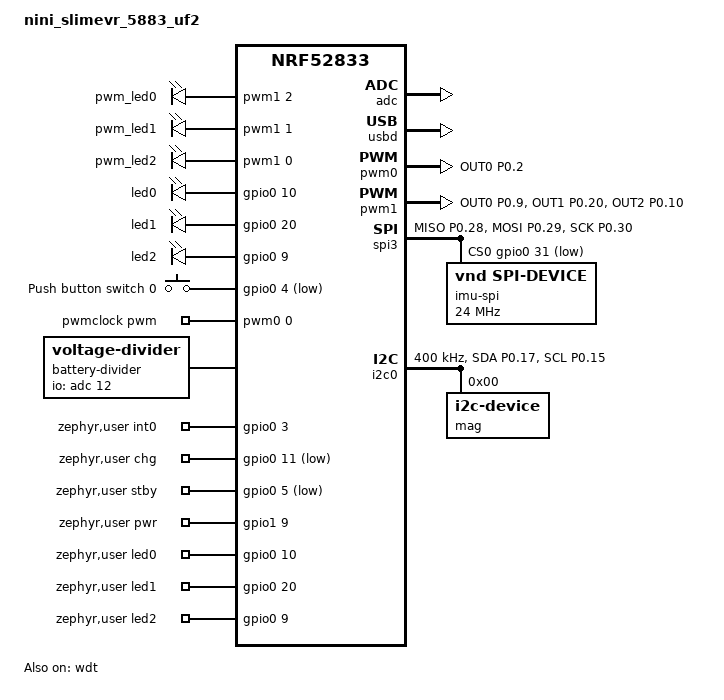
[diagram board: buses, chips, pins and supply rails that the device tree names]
// Copyright (c) 2024 Nordic Semiconductor ASA
// SPDX-License-Identifier: Apache-2.0

// 板级设备树：nini_slimevr_5883_uf2 ——【追踪器 tracker】（nRF52833 QDAA）
// 由我们注入的 nini 板级文件（上游 jitingcn 仓不含）。
// 与旧板 nini_slimevr_mag_uf2 的硬件差异：
//   ① 三颗 LED 改为【共阴】接法（高电平点亮），新增红灯：
//      红 P0.10 / 绿 P0.20 / 蓝 P0.09，全部 GPIO_ACTIVE_HIGH、PWM_POLARITY_NORMAL，
//      不再用 GPIO_OPEN_DRAIN 与 nordic,invert；
//   ② P0.18 接 nRF 的 nRESET（UICR gpio-as-nreset），不再是普通 GPIO/按键；
//   ③ 板载 32.768kHz 晶振（LFXO 走应用 Kconfig CLOCK_USE_LFXO，默认开，无需 dts 配置）；
//   ④ 磁力计为 QMC5883P（I2C 0x2C，驱动另行注入），dts 侧仍为通用 i2c-device 占位。
// 其余引脚（SW0/INT/CHG/STDBY/PWR/SPI3/I2C0/IMUCLK）与旧板一致。

/dts-v1/;
#include <nordic/nrf52833_qdaa.dtsi>
#include <zephyr/dt-bindings/gpio/gpio.h>
#include <zephyr/dt-bindings/gpio/nordic-nrf-gpio.h>
#include <zephyr/dt-bindings/pinctrl/nrf-pinctrl.h>


&pinctrl {
	spi3_default: spi3_default {
		group1 {
			psels = <NRF_PSEL(SPIM_MISO, 0, 28)>,
					<NRF_PSEL(SPIM_MOSI, 0, 29)>,
					<NRF_PSEL(SPIM_SCK, 0, 30)>;
		};
	};

	spi3_sleep: spi3_sleep {
		group1 {
			psels = <NRF_PSEL(SPIM_MISO, 0, 28)>,
					<NRF_PSEL(SPIM_MOSI, 0, 29)>,
					<NRF_PSEL(SPIM_SCK, 0, 30)>;
			low-power-enable;
		};
	};

	i2c0_default: i2c0_default {
		group1 {
			psels = <NRF_PSEL(TWIM_SDA, 0, 17)>,
					<NRF_PSEL(TWIM_SCL, 0, 15)>;
			bias-disable;
		};
	};

	i2c0_sleep: i2c0_sleep {
		group1 {
			psels = <NRF_PSEL(TWIM_SDA, 0, 17)>,
					<NRF_PSEL(TWIM_SCL, 0, 15)>;
			bias-disable;
			low-power-enable;
		};
	};

	/* IMUCLK：P0.02 输出 32768Hz（pwmclock 节点，PWM0 ch0）。默认关闭，
	 * 由固件 pwmclock 门控按需开启（详见计划书 §7.4）。 */
	pwm0_default: pwm0_default {
		group1 {
			psels = <NRF_PSEL(PWM_OUT0, 0, 2)>;
			nordic,drive-mode = <NRF_DRIVE_D0S1>;
		};
	};

	pwm0_sleep: pwm0_sleep {
		group1 {
			psels = <NRF_PIN_DISCONNECTED>;
			low-power-enable;
		};
	};

	/* 三色 LED（共阴，高电平点亮）：蓝 P0.09(ch0) / 绿 P0.20(ch1) / 红 P0.10(ch2)。
	 * 共阴接法：输出高电平点亮 → 不用 nordic,invert；点亮电平用高驱动 S0H1。 */
	pwm1_default: pwm1_default {
		group1 {
			psels = <NRF_PSEL(PWM_OUT0, 0, 9)>,
					<NRF_PSEL(PWM_OUT1, 0, 20)>,
					<NRF_PSEL(PWM_OUT2, 0, 10)>;
			nordic,drive-mode = <NRF_DRIVE_S0H1>;
		};
	};

	pwm1_sleep: pwm1_sleep {
		group1 {
			psels = <NRF_PSEL(PWM_OUT0, 0, 9)>,
					<NRF_PSEL(PWM_OUT1, 0, 20)>,
					<NRF_PSEL(PWM_OUT2, 0, 10)>;
			low-power-enable;
		};
	};
};


/ {
	model = "nini_slimevr_5883_uf2";
	compatible = "nini_slimevr_5883_uf2";

	chosen {
		zephyr,sram = &sram0;
		zephyr,flash = &flash0;
		zephyr,console = &cdc_acm_uart0;
		zephyr,shell-uart = &cdc_acm_uart0;
	};

	pwmleds {
		compatible = "pwm-leds";
		/* 色序对齐 led.c 三色约定：pwm-led0=红 / pwm-led1=绿 / pwm-led2=蓝。
		 * 共阴高电平点亮 → PWM_POLARITY_NORMAL（旧板为 INVERTED）。 */
		pwm_led0: pwm_led_0 {
			pwms = <&pwm1 2 PWM_MSEC(1) PWM_POLARITY_NORMAL>;
		};
		pwm_led1: pwm_led_1 {
			pwms = <&pwm1 1 PWM_MSEC(1) PWM_POLARITY_NORMAL>;
		};
		pwm_led2: pwm_led_2 {
			pwms = <&pwm1 0 PWM_MSEC(1) PWM_POLARITY_NORMAL>;
		};
	};

	leds {
		compatible = "gpio-leds";
		/* 色序：led0=红 P0.10 / led1=绿 P0.20 / led2=蓝 P0.09（led.h 三色约定）。
		 * 共阴接法：GPIO_ACTIVE_HIGH、不用 GPIO_OPEN_DRAIN（旧板共阳为
		 * ACTIVE_LOW|OPEN_DRAIN）。 */
		led0: led_0 {
			gpios = <&gpio0 10 GPIO_ACTIVE_HIGH>;
		};
		led1: led_1 {
			gpios = <&gpio0 20 GPIO_ACTIVE_HIGH>;
		};
		led2: led_2 {
			gpios = <&gpio0 9 GPIO_ACTIVE_HIGH>;
		};
	};

	buttons {
		compatible = "gpio-keys";
		button0: button_0 {
			gpios = <&gpio0 4 (GPIO_PULL_UP | GPIO_ACTIVE_LOW)>;
			label = "Push button switch 0";
		};
	};

	aliases {
		sw0 = &button0;
		led0 = &led0;
		led1 = &led1;
		led2 = &led2;
		pwm-led0 = &pwm_led0;
		pwm-led1 = &pwm_led1;
		pwm-led2 = &pwm_led2;
		watchdog0 = &wdt;
	};

	pwmclock: pwmclock {
		compatible = "pwm-clock";
		#clock-cells = <1>;
		pwms = <&pwm0 0 PWM_HZ(32768) PWM_POLARITY_NORMAL>;
	};

	battery-divider {
		compatible = "voltage-divider";
		status = "okay";
		io-channels = <&adc 12>; /* Measure VDDHDIV5 */
		output-ohms = <1>;
		full-ohms = <5>;
	};

	zephyr,user {
		int0-gpios = <&gpio0 3 0>;
		chg-gpios = <&gpio0 11 (GPIO_ACTIVE_LOW | GPIO_PULL_UP)>;
		stby-gpios = <&gpio0 5 (GPIO_ACTIVE_LOW | GPIO_PULL_UP)>;
		/* LDO-EN：P1.09，高电平开（关机由 power.c 拉低断电）。
		 * ⚠️ 只允许写 pwr-gpios——绝不能写成 ldo-gpios（那是 nRF 稳压器档位，
		 * sys_system_off 会把它拉高，方向正好相反）。 */
		pwr-gpios = <&gpio1 9 (GPIO_ACTIVE_HIGH | NRF_GPIO_DRIVE_H0H1)>;
		led0-gpios = <&gpio0 10 GPIO_ACTIVE_HIGH>;
		led1-gpios = <&gpio0 20 GPIO_ACTIVE_HIGH>;
		led2-gpios = <&gpio0 9 GPIO_ACTIVE_HIGH>;
		/* clk-gpios = <&gpio0 2 GPIO_OPEN_DRAIN>; */
	};
};

&reg1 {
	regulator-initial-mode = <NRF5X_REG_MODE_DCDC>;
};

&adc {
	status = "okay";
};

&gpiote {
	status = "okay";
};

&gpio0 {
    status = "okay";
};

&gpio1 {
    status = "okay";
};

zephyr_udc0: &usbd {
	compatible = "nordic,nrf-usbd";
	status = "okay";
	cdc_acm_uart0: cdc_acm_uart0 {
		compatible = "zephyr,cdc-acm-uart";
	};
};

&nfct {
	status = "disabled";
};

&uicr {
	nfct-pins-as-gpios;
	/* P0.18 接 nRESET（板上硬件复位键/测试点），让出 GPIO 功能。
	 * DFU 双击进 bootloader 用 SW0（P0.04），见固件侧配置。 */
	gpio-as-nreset;
};

&wdt {
	status = "okay";
};

&pwm0 {
	status = "okay";
	pinctrl-0 = <&pwm0_default>;
	pinctrl-1 = <&pwm0_sleep>;
	pinctrl-names = "default", "sleep";
};

&pwm1 {
	status = "okay";
	pinctrl-0 = <&pwm1_default>;
	pinctrl-1 = <&pwm1_sleep>;
	pinctrl-names = "default", "sleep";
};

&spi3 {
	status = "okay";
	compatible = "nordic,nrf-spim";
	pinctrl-0 = <&spi3_default>;
	pinctrl-1 = <&spi3_sleep>;
	pinctrl-names = "default", "sleep";
	max-frequency = <DT_FREQ_M(24)>;
	cs-gpios = <&gpio0 31 GPIO_ACTIVE_LOW>;

	imu_spi: imu_spi@0 {
		compatible = "vnd,spi-device";
		spi-max-frequency = <DT_FREQ_M(24)>;
		label = "imu-spi";
		reg = <0>;
	};
};

&i2c0 {
	compatible = "nordic,nrf-twim";
	status = "okay";
	zephyr,concat-buf-size = <1023>;
	zephyr,flash-buf-max-size = <1023>;
	clock-frequency = <I2C_BITRATE_FAST>;
	pinctrl-0 = <&i2c0_default>;
	pinctrl-1 = <&i2c0_sleep>;
	pinctrl-names = "default", "sleep";

	mag: mag@0 {
		compatible = "i2c-device";
		label = "mag";
		reg = <0>;
	};
};
